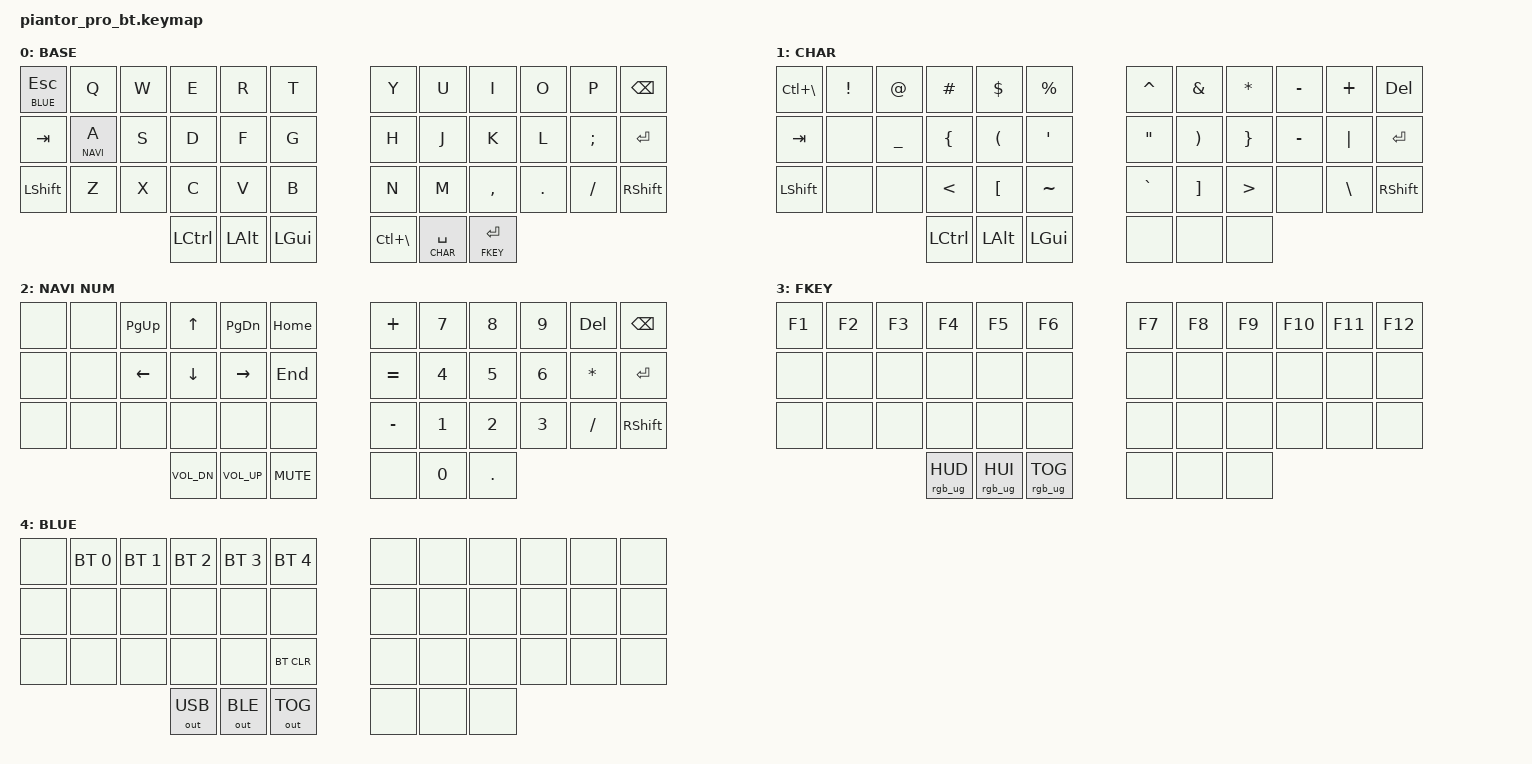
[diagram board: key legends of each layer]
/*
 * Copyright (c) 2020 The ZMK Contributors
 *
 * SPDX-License-Identifier: MIT
 */

#include <behaviors.dtsi>
#include <dt-bindings/zmk/bt.h>
#include <dt-bindings/zmk/keys.h>
#include <dt-bindings/zmk/outputs.h>
#include <dt-bindings/zmk/rgb.h>

#define BASE 0
#define CHAR 1
#define NAVI 2
#define FKEY 3
#define BLUE 4

/ {
    chosen {
        zmk,physical-layout = &default_layout;
    };
};

&lt {
    quick-tap-ms = <100>;
    tapping-term-ms = <200>;
    flavor = "balanced";
};

/ {
    keymap {
        compatible = "zmk,keymap";

        base {
            display-name = "BASE";
            label = "BASE";
            bindings = <
        // ╭─────────────┬─────────────┬─────────────┬─────────────┬─────────────┬─────────────╮   ╭─────────────┬─────────────┬─────────────┬─────────────┬─────────────┬─────────────╮
            &lt BLUE ESC   &kp Q         &kp W         &kp E         &kp R         &kp T             &kp Y         &kp U         &kp I         &kp O         &kp P         &kp BSPC
        // ├─────────────┼─────────────┼─────────────┼─────────────┼─────────────┼─────────────┤   ├─────────────┼─────────────┼─────────────┼─────────────┼─────────────┼─────────────┤
            &kp TAB       &lt NAVI A     &kp S         &kp D         &kp F         &kp G             &kp H         &kp J         &kp K         &kp L         &kp SEMI       &kp ENTER
        // ├─────────────┼─────────────┼─────────────┼─────────────┼─────────────┼─────────────┤   ├─────────────┼─────────────┼─────────────┼─────────────┼─────────────┼─────────────┤
            &kp LSHFT      &kp Z         &kp X         &kp C         &kp V         &kp B             &kp N         &kp M         &kp COMMA     &kp DOT       &kp FSLH      &kp RSHFT
        // ╰─────────────┴─────────────┴─────────────┼─────────────┼─────────────┼─────────────┤   ├─────────────┼─────────────┼─────────────┼─────────────┴─────────────┴─────────────╯
                                                      &kp LCTRL     &kp LALT      &kp LGUI           &kp LC(BSLH)  &lt CHAR SPACE &lt FKEY ENTER
        //                                           ╰─────────────┴─────────────┴─────────────╯   ╰─────────────┴─────────────┴─────────────╯
            >;
        };

        char {
            display-name = "CHAR";
            label = "CHAR";
            bindings = <
        // ╭─────────────┬─────────────┬─────────────┬─────────────┬─────────────┬─────────────╮   ╭─────────────┬─────────────┬─────────────┬─────────────┬─────────────┬─────────────╮
            &kp LC(BSLH)   &kp EXCL      &kp AT        &kp HASH      &kp DLLR      &kp PRCNT         &kp CARET     &kp AMPS      &kp ASTRK     &kp MINUS     &kp PLUS      &kp DEL
        // ├─────────────┼─────────────┼─────────────┼─────────────┼─────────────┼─────────────┤   ├─────────────┼─────────────┼─────────────┼─────────────┼─────────────┼─────────────┤
            &kp TAB        &none         &kp UNDER     &kp LBRC      &kp LPAR      &kp SQT           &kp DQT       &kp RPAR      &kp RBRC      &kp MINUS     &kp PIPE      &kp ENTER
        // ├─────────────┼─────────────┼─────────────┼─────────────┼─────────────┼─────────────┤   ├─────────────┼─────────────┼─────────────┼─────────────┼─────────────┼─────────────┤
            &kp LSHFT      &none         &none         &kp LT        &kp LBKT      &kp TILDE         &kp GRAVE     &kp RBKT      &kp GT        &none         &kp BSLH      &kp RSHFT
        // ╰─────────────┴─────────────┴─────────────┼─────────────┼─────────────┼─────────────┤   ├─────────────┼─────────────┼─────────────┼─────────────┴─────────────┴─────────────╯
                                                       &kp LCTRL     &kp LALT      &kp LGUI          &none         &none         &none
        //                                           ╰─────────────┴─────────────┴─────────────╯   ╰─────────────┴─────────────┴─────────────╯
            >;
        };

        navi_num {
            display-name = "NAVI NUM";
            label = "NAVI NUM";
            bindings = <
        // ╭─────────────┬─────────────┬─────────────┬─────────────┬─────────────┬─────────────╮   ╭─────────────┬─────────────┬─────────────┬─────────────┬─────────────┬─────────────╮
            &none         &none         &kp PG_UP     &kp UP        &kp PG_DN     &kp HOME           &kp PLUS      &kp N7        &kp N8        &kp N9        &kp DEL       &kp BSPC
        // ├─────────────┼─────────────┼─────────────┼─────────────┼─────────────┼─────────────┤   ├─────────────┼─────────────┼─────────────┼─────────────┼─────────────┼─────────────┤
            &none         &none         &kp LEFT      &kp DOWN      &kp RIGHT      &kp END            &kp EQUAL     &kp N4        &kp N5        &kp N6        &kp ASTRK     &kp ENTER
        // ├─────────────┼─────────────┼─────────────┼─────────────┼─────────────┼─────────────┤   ├─────────────┼─────────────┼─────────────┼─────────────┼─────────────┼─────────────┤
            &none         &none         &none         &none         &none         &none             &kp MINUS     &kp N1        &kp N2        &kp N3        &kp FSLH      &kp RSHFT
        // ╰─────────────┴─────────────┴─────────────┼─────────────┼─────────────┼─────────────┤   ├─────────────┼─────────────┼─────────────┼─────────────┴─────────────┴─────────────╯
                                                      &kp C_VOL_DN  &kp C_VOL_UP  &kp C_MUTE        &none         &kp N0        &kp DOT
        //                                           ╰─────────────┴─────────────┴─────────────╯   ╰─────────────┴─────────────┴─────────────╯
            >;
        };

        fkey {
            display-name = "FKEY";
            label = "FKEY";
            bindings = <
        // ╭─────────────┬─────────────┬─────────────┬─────────────┬─────────────┬─────────────╮       ╭─────────────┬─────────────┬─────────────┬─────────────┬─────────────┬─────────────╮
            &kp F1        &kp F2        &kp F3        &kp F4        &kp F5        &kp F6                &kp F7        &kp F8        &kp F9        &kp F10       &kp F11       &kp F12
        // ├─────────────┼─────────────┼─────────────┼─────────────┼─────────────┼─────────────┤       ├─────────────┼─────────────┼─────────────┼─────────────┼─────────────┼─────────────┤
            &none         &none         &none         &none         &none         &none                 &none         &none         &none         &none         &none         &none
        // ├─────────────┼─────────────┼─────────────┼─────────────┼─────────────┼─────────────┤       ├─────────────┼─────────────┼─────────────┼─────────────┼─────────────┼─────────────┤
            &none         &none         &none         &none         &none         &none                 &none         &none         &none         &none         &none         &none
        // ╰─────────────┴─────────────┴─────────────┼─────────────┼─────────────┼─────────────┤       ├─────────────┼─────────────┼─────────────┼─────────────┴─────────────┴─────────────╯
                                                      &rgb_ug RGB_HUD &rgb_ug RGB_HUI &rgb_ug RGB_TOG   &none         &none         &none
        //                                           ╰─────────────┴─────────────┴─────────────╯       ╰─────────────┴─────────────┴─────────────╯
            >;
        };

        blue {
            display-name = "BLUE";
            bindings = <
        // ╭─────────────┬─────────────┬─────────────┬─────────────┬─────────────┬─────────────╮   ╭─────────────┬─────────────┬─────────────┬─────────────┬─────────────┬─────────────╮
            &none         &bt BT_SEL 0  &bt BT_SEL 1  &bt BT_SEL 2  &bt BT_SEL 3  &bt BT_SEL 4      &none         &none         &none         &none         &none         &none
        // ├─────────────┼─────────────┼─────────────┼─────────────┼─────────────┼─────────────┤   ├─────────────┼─────────────┼─────────────┼─────────────┼─────────────┼─────────────┤
            &none         &none         &none         &none         &none         &none             &none         &none         &none         &none         &none         &none
        // ├─────────────┼─────────────┼─────────────┼─────────────┼─────────────┼─────────────┤   ├─────────────┼─────────────┼─────────────┼─────────────┼─────────────┼─────────────┤
            &none         &none         &none         &none         &none         &bt BT_CLR        &none         &none         &none         &none         &none         &none
        // ╰─────────────┴─────────────┴─────────────┼─────────────┼─────────────┼─────────────┤   ├─────────────┼─────────────┼─────────────┼─────────────┴─────────────┴─────────────╯
                                                      &out OUT_USB  &out OUT_BLE  &out OUT_TOG      &none         &none         &none
        //                                           ╰─────────────┴─────────────┴─────────────╯   ╰─────────────┴─────────────┴─────────────╯
            >;
        };

    };
};
